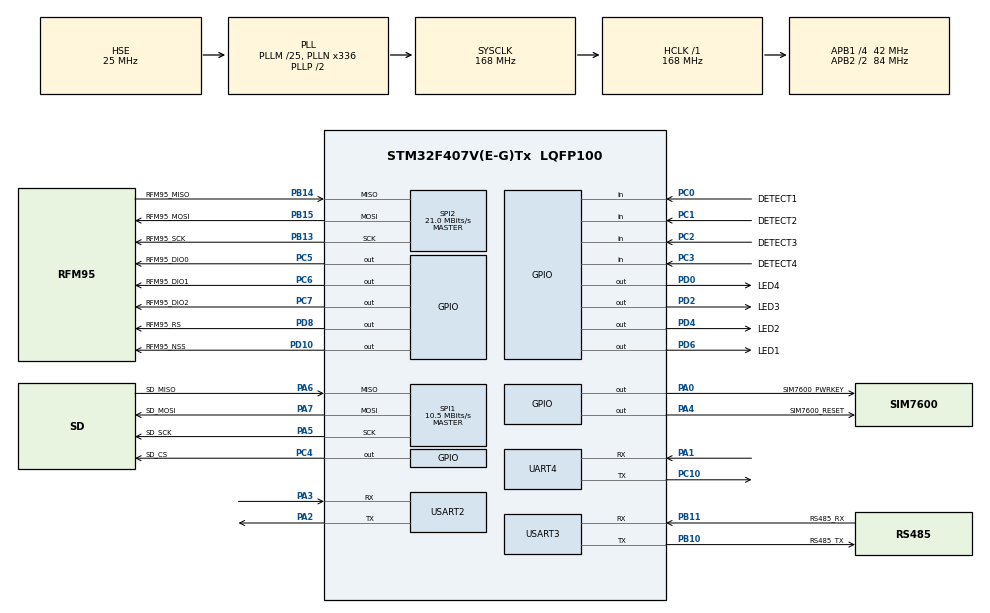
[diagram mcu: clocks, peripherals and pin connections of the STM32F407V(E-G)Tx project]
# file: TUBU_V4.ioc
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Dma.Request0=USART3_RX
Dma.Request1=USART2_RX
Dma.USART2_RX.1.Direction=DMA_PERIPH_TO_MEMORY
Dma.USART2_RX.1.FIFOMode=DMA_FIFOMODE_DISABLE
Dma.USART2_RX.1.Instance=DMA1_Stream5
Dma.USART2_RX.1.MemDataAlignment=DMA_MDATAALIGN_BYTE
Dma.USART2_RX.1.MemInc=DMA_MINC_ENABLE
Dma.USART2_RX.1.Mode=DMA_NORMAL
Dma.USART2_RX.1.PeriphDataAlignment=DMA_PDATAALIGN_BYTE
Dma.USART2_RX.1.PeriphInc=DMA_PINC_DISABLE
Dma.USART2_RX.1.Priority=DMA_PRIORITY_LOW
Dma.USART3_RX.0.Direction=DMA_PERIPH_TO_MEMORY
Dma.USART3_RX.0.FIFOMode=DMA_FIFOMODE_DISABLE
Dma.USART3_RX.0.Instance=DMA1_Stream1
Dma.USART3_RX.0.MemDataAlignment=DMA_MDATAALIGN_BYTE
Dma.USART3_RX.0.MemInc=DMA_MINC_ENABLE
Dma.USART3_RX.0.Mode=DMA_NORMAL
Dma.USART3_RX.0.PeriphDataAlignment=DMA_PDATAALIGN_BYTE
Dma.USART3_RX.0.PeriphInc=DMA_PINC_DISABLE
Dma.USART3_RX.0.Priority=DMA_PRIORITY_LOW
FATFS._MAX_SS=4096
FATFS._USE_LFN=1
Mcu.Family=STM32F4
Mcu.Name=STM32F407V(E-G)Tx
Mcu.Package=LQFP100
NVIC.DMA1_Stream1_IRQn=true\:0\:0\:false\:false\:true\:false\:true\:true
NVIC.DMA1_Stream5_IRQn=true\:0\:0\:false\:false\:true\:false\:true\:true
NVIC.PriorityGroup=NVIC_PRIORITYGROUP_4
NVIC.UART4_IRQn=true\:0\:0\:false\:false\:true\:true\:true\:true
NVIC.USART2_IRQn=true\:0\:0\:false\:false\:true\:true\:true\:true
NVIC.USART3_IRQn=true\:0\:0\:false\:false\:true\:true\:true\:true
PA0-WKUP.GPIO_Label=SIM7600_PWRKEY
PA0-WKUP.GPIO_PuPd=GPIO_PULLUP
PA0-WKUP.Signal=GPIO_Output
PA1.Mode=Asynchronous
PA1.Signal=UART4_RX
PA13.Mode=Serial_Wire
PA13.Signal=SYS_JTMS-SWDIO
PA14.Mode=Serial_Wire
PA14.Signal=SYS_JTCK-SWCLK
PA2.Mode=Asynchronous
PA2.Signal=USART2_TX
PA3.Mode=Asynchronous
PA3.Signal=USART2_RX
PA4.GPIO_Label=SIM7600_RESET
PA4.Signal=GPIO_Output
PA5.GPIO_Label=SD_SCK
PA5.Mode=Full_Duplex_Master
PA5.Signal=SPI1_SCK
PA6.GPIO_Label=SD_MISO
PA6.Mode=Full_Duplex_Master
PA6.Signal=SPI1_MISO
PA7.GPIO_Label=SD_MOSI
PA7.Mode=Full_Duplex_Master
PA7.Signal=SPI1_MOSI
PB10.GPIO_Label=RS485_TX
PB10.Mode=Asynchronous
PB10.Signal=USART3_TX
PB11.GPIO_Label=RS485_RX
PB11.Mode=Asynchronous
PB11.Signal=USART3_RX
PB13.GPIO_Label=RFM95_SCK
PB13.Mode=Full_Duplex_Master
PB13.Signal=SPI2_SCK
PB14.GPIO_Label=RFM95_MISO
PB14.Mode=Full_Duplex_Master
PB14.Signal=SPI2_MISO
PB15.GPIO_Label=RFM95_MOSI
PB15.Mode=Full_Duplex_Master
PB15.Signal=SPI2_MOSI
PC0.GPIO_Label=DETECT1
PC0.Signal=GPIO_Input
PC1.GPIO_Label=DETECT2
PC1.Signal=GPIO_Input
PC10.Mode=Asynchronous
PC10.Signal=UART4_TX
PC14-OSC32_IN.Mode=LSE-External-Oscillator
PC14-OSC32_IN.Signal=RCC_OSC32_IN
PC15-OSC32_OUT.Mode=LSE-External-Oscillator
PC15-OSC32_OUT.Signal=RCC_OSC32_OUT
PC2.GPIO_Label=DETECT3
PC2.Signal=GPIO_Input
PC3.GPIO_Label=DETECT4
PC3.Signal=GPIO_Input
PC4.GPIO_Label=SD_CS
PC4.Signal=GPIO_Output
PC5.GPIO_Label=RFM95_DIO0
PC5.Signal=GPIO_Output
PC6.GPIO_Label=RFM95_DIO1
PC6.Signal=GPIO_Output
PC7.GPIO_Label=RFM95_DIO2
PC7.Signal=GPIO_Output
PD0.GPIO_Label=LED4
PD0.Signal=GPIO_Output
PD10.GPIO_Label=RFM95_NSS
PD10.Signal=GPIO_Output
PD2.GPIO_Label=LED3
PD2.Signal=GPIO_Output
PD4.GPIO_Label=LED2
PD4.Signal=GPIO_Output
PD6.GPIO_Label=LED1
PD6.Signal=GPIO_Output
PD8.GPIO_Label=RFM95_RS
PD8.Signal=GPIO_Output
PH0-OSC_IN.Mode=HSE-External-Oscillator
PH0-OSC_IN.Signal=RCC_OSC_IN
PH1-OSC_OUT.Mode=HSE-External-Oscillator
PH1-OSC_OUT.Signal=RCC_OSC_OUT
ProjectManager.HeapSize=0x200
ProjectManager.StackSize=0x400
ProjectManager.TargetToolchain=STM32CubeIDE
RCC.48MHZClocksFreq_Value=84000000
RCC.AHBFreq_Value=168000000
RCC.APB1CLKDivider=RCC_HCLK_DIV4
RCC.APB1Freq_Value=42000000
RCC.APB1TimFreq_Value=84000000
RCC.APB2CLKDivider=RCC_HCLK_DIV2
RCC.APB2Freq_Value=84000000
RCC.APB2TimFreq_Value=168000000
RCC.CortexFreq_Value=168000000
RCC.HCLKFreq_Value=168000000
RCC.HSE_VALUE=25000000
RCC.HSI_VALUE=16000000
RCC.PLLM=25
RCC.PLLN=336
RCC.PLLSourceVirtual=RCC_PLLSOURCE_HSE
RCC.SYSCLKFreq_VALUE=168000000
RCC.SYSCLKSource=RCC_SYSCLKSOURCE_PLLCLK
RCC.VCOOutputFreq_Value=336000000
RTC.Alarm=RTC_ALARM_A
RTC.Date=28
RTC.Hours=9
RTC.Hours_A=9
RTC.Minutes=0
RTC.Month=RTC_MONTH_MARCH
RTC.Seconds_A=1
RTC.WeekDay=RTC_WEEKDAY_THURSDAY
SPI1.BaudRatePrescaler=SPI_BAUDRATEPRESCALER_8
SPI1.CalculateBaudRate=10.5 MBits/s
SPI1.Direction=SPI_DIRECTION_2LINES
SPI1.Mode=SPI_MODE_MASTER
SPI1.VirtualType=VM_MASTER
SPI2.BaudRatePrescaler=SPI_BAUDRATEPRESCALER_2
SPI2.CalculateBaudRate=21.0 MBits/s
SPI2.Direction=SPI_DIRECTION_2LINES
SPI2.Mode=SPI_MODE_MASTER
SPI2.VirtualType=VM_MASTER
UART4.VirtualMode=Asynchronous
USART2.VirtualMode=VM_ASYNC
USART3.VirtualMode=VM_ASYNC
VP_FATFS_VS_Generic.Mode=User_defined
VP_RTC_VS_RTC_Activate.Mode=RTC_Enabled
VP_RTC_VS_RTC_Alarm_A_Intern.Mode=Alarm A
VP_RTC_VS_RTC_Calendar.Mode=RTC_Calendar
board=custom

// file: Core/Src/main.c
/* USER CODE BEGIN Header */
/**
 ******************************************************************************
 * @file           : main.c
 * @brief          : Main program body
 ******************************************************************************
 * @attention
 *
 * Copyright (c) 2024 STMicroelectronics.
 * All rights reserved.
 *
 * This software is licensed under terms that can be found in the LICENSE file
 * in the root directory of this software component.
 * If no LICENSE file comes with this software, it is provided AS-IS.
 *
 ******************************************************************************
 */
/* USER CODE END Header */
#include "main.h"
#include "fatfs.h"

/* USER CODE BEGIN Includes */
#include "ducati.h"
#include "rfm95.h"
#include "sim7600.h"
#include "sd.h"
/* USER CODE END Includes */

/* USER CODE BEGIN PD */
#define RX_LEN			500
/* USER CODE END PD */

RTC_HandleTypeDef hrtc;

SPI_HandleTypeDef hspi1;
SPI_HandleTypeDef hspi2;

UART_HandleTypeDef huart4;
UART_HandleTypeDef huart2;
UART_HandleTypeDef huart3;
DMA_HandleTypeDef hdma_usart2_rx;
DMA_HandleTypeDef hdma_usart3_rx;

/* USER CODE BEGIN PV */
ducati_typeDef ducati = { 0 };
//STATUS_CONTACTOR *CON[8] = { 0 };
bool IN[8];
SIM_HandleTypeDef *simPtr;
SIM_HTTPTypeDef http = { 0 };
SIM_DataTypeDef simData = { 0 };

RFM95_HandleTypeDef rfm95w = { 0 };
LORA_HandleTypeDef *lora;
CFG_HandleTypeDef *cfgID;
float CosF = 0.5;
float Current = 0.1;
float Voltage = 0.1;
float ActivePower = 10.1;
float ReactivePower = 10.2;
float Frequency = 50;

uint16_t AvP;
uint16_t AvQ;
uint16_t CoilStatus;
extern char TimeString[24];
uint8_t irqLoRaFlag = 0;
/* USER CODE END PV */

void SystemClock_Config(void);
static void MX_GPIO_Init(void);
static void MX_DMA_Init(void);
static void MX_SPI1_Init(void);
static void MX_SPI2_Init(void);
static void MX_USART2_UART_Init(void);
static void MX_USART3_UART_Init(void);
static void MX_RTC_Init(void);
static void MX_UART4_Init(void);
/* USER CODE BEGIN PFP */
void HAL_UARTEx_RxEventCallback(UART_HandleTypeDef *huart, uint16_t Size) {
	if (huart->Instance == USART3) {
		HAL_UARTEx_ReceiveToIdle_DMA(&huart3, ducati.buffer, LEVEL_BUFFER_SIZE);
		__HAL_DMA_DISABLE_IT(ducati.dma, DMA_IT_HT);
		ducati.DucatiFlag = true;
		Get_size(&ducati, Size);

	}
	if (huart->Instance == USART2) {
		SIM_checkEvent(simPtr, Size);
	}
}

void HAL_GPIO_EXTI_Callback(uint16_t GPIO_Pin) {
	/* Wake up MCU from stop mode by any EXTI line */
	if (GPIO_Pin == rfm95w.dio0) {
		/* Set flag to read LoRa message */
		irqLoRaFlag = 1;
	}
}
/* USER CODE END PFP */

/* USER CODE BEGIN 0 */
void ducati_Init(void) {
	ducati.dma = &hdma_usart3_rx;
	ducati.huart = &huart3;
}

void CONTACTOR_READ()
{
  IN[0] = HAL_GPIO_ReadPin(DETECT1_GPIO_Port, DETECT1_Pin);
  IN[1] = HAL_GPIO_ReadPin(DETECT2_GPIO_Port, DETECT2_Pin);
  IN[2] = HAL_GPIO_ReadPin(DETECT3_GPIO_Port, DETECT3_Pin);
  IN[3] = HAL_GPIO_ReadPin(DETECT4_GPIO_Port, DETECT4_Pin);
}

void SIM_Init(void) {
//	HAL_GPIO_WritePin(SIM7600_PWRKEY_GPIO_Port, SIM7600_PWRKEY_Pin,
//			GPIO_PIN_SET); // Bat PWR len
//	HAL_GPIO_WritePin(SIM7600_RESET_GPIO_Port, SIM7600_RESET_Pin, GPIO_PIN_RESET);
	printf("%s\n", __FUNCTION__);
	/* Khởi tạo biến tĩnh để các giá trị khởi tạo không bị mất đi */
	static SIM7600_HandleTypeDef sim7600 = { 0 };

	/* Khởi tạo giá trị cho con tr�?, biến con tr�? là biến toàn cục */
	simPtr = (SIM_HandleTypeDef*) &sim7600;

	/* Khởi tạo giá trị của các member của struct */
	sim7600.hdma = &hdma_usart2_rx;
	sim7600.huart = &huart2;
	sim7600.smsCnt = 0;
	sim7600.smsPos = 0;
	sim7600.pwrkeyPin = SIM7600_PWRKEY_Pin;
	sim7600.pwrkeyPort = SIM7600_PWRKEY_GPIO_Port;
    sim7600.resetPort = SIM7600_RESET_GPIO_Port;
    sim7600.resetPin = SIM7600_RESET_Pin;
//    sim7600.sleepPort = SIM7600_DTR_GPIO_Port;
//    sim7600.sleepPin = SIM7600_DTR_Pin;
//    sim7600.powerEnPort = SIM7600_PWREN_GPIO_Port;
//    sim7600.powerEnPin = SIM7600_PWREN_Pin;
	sim7600.parent.CSR = 0;

	sim7600.parent.simSendATCommand = (simSendATCommand) &SIM7600_sendATCommand;
	sim7600.parent.simWakeup = (simWakeup) &SIM7600_wakeup;
	sim7600.parent.simSleep = (simSleep) &SIM7600_sleep;
	sim7600.parent.simInit = (simInit) &SIM7600_init;
	sim7600.parent.simSetFunction = (simSetFunction) &SIM7600_setFunction;
	sim7600.parent.simProcess = (simProcess) &SIM7600_process;
	sim7600.parent.simCheckEvent = (simCheckEvent) &SIM7600_checkEvent;
	sim7600.parent.simReadSMS = (simReadSMS) &SIM7600_readSMS;
	sim7600.parent.simSendSMS = (simSendSMS) &SIM7600_sendSMS;
	sim7600.parent.simGetSMSCounter = (simGetSMSCounter) &SIM7600_getSMSCounter;
	sim7600.parent.simCallUSSD = (simCallUSSD) &SIM7600_callUSSD;
	sim7600.parent.simGetRSSI = (simGetRSSI) &SIM7600_getRSSI;
	sim7600.parent.simGetTemperature =
			(simGetTemperature) &SIM7600_getTemperature;
	sim7600.parent.simGetNwtype = (simGetNwtype) &SIM7600_getNetworkType;
	sim7600.parent.simGetSimPhone = (simGetSimPhone) &SIM7600_getSimPhone;
	sim7600.parent.simGetIMEI = (simGetIMEI) &SIM7600_getIMEI;
	sim7600.parent.simGetLocalTime = (simGetLocalTime) &SIM7600_getLocalTime;
	sim7600.parent.simGetFileSize = (simGetFileSize) &SIM7600_getFileSize;
	sim7600.parent.simDeleteFile = (simDeleteFile) &SIM7600_deleteFile;
	sim7600.parent.simSetLocalTimeAuto =
			(simSetLocalTimeAuto) &SIM7600_setLocalTimeAuto;
	sim7600.parent.simSetLocalTimeManual =
			(simSetLocalTimeManual) &SIM7600_setLocalTimeManual;
	sim7600.parent.simSelectPhonebookMem =
			(simSelectPhonebookMem) &SIM7600_selectPhonebookMem;
	sim7600.parent.simSavePhonebook = (simSavePhonebook) &SIM7600_savePhonebook;
	sim7600.parent.simReadPhonebook = (simReadPhonebook) &SIM7600_readPhonebook;
	sim7600.parent.simFindPhonebook = (simFindPhonebook) &SIM7600_findPhonebook;
	sim7600.parent.simSendHTTP = (simSendHTTP) &SIM7600_sendHTTP;
	sim7600.parent.simGetFileHTTP = (simGetFileHTTP) &SIM7600_getFileHTTP;

	/* Khởi tạo module SIM */
	if (THT_OK != SIM_init(simPtr)) {
		printf("Sim init fail\n");
		HAL_UART_Transmit(&huart4, "SIM START ERROR: \n",
				sizeof("SIM START ERROR: \n"), HAL_MAX_DELAY);
	} else {
		HAL_UART_Transmit(&huart4, "SIM START OK: \n",
				sizeof("SIM START OK: \n"), HAL_MAX_DELAY);
		char pTime[100] = { };
		/* Dưa module SIM vào chế độ hoạt động đầy đủ chức năng */
		SIM_setFunction(simPtr, SIM_MODE_FULL);
		SIM_setLocalTimeAuto(simPtr);
		SIM_getLocalTime(simPtr, pTime, 22);
		SIM_getData(simPtr,
				SIM_DR_IMEI | SIM_DR_RSSI | SIM_DR_NWTYPE | SIM_DR_SIMPHONE
						| SIM_DR_TEMP, &simData);
	}
}
void CFG_Init() {
	CFG_HandleTypeDef cfg = { 0 };
	cfgID = &cfg;

	//  CFG_getID(device);
	//  CFG_getMaster(device);

	CFG_setDeviceID(cfgID, "0982586020", strlen("0982586020"));
	CFG_setDeviceMaster(cfgID, "0982586021", strlen("0982586021"));

	CFG_writeEEPROM(cfgID);
}

void LORA_begin() {
	lora = (LORA_HandleTypeDef*) &rfm95w;

	rfm95w.resetPort = RFM95_RS_GPIO_Port;
	rfm95w.resetPin = RFM95_RS_Pin;
	rfm95w.nssPort = RFM95_NSS_GPIO_Port;
	rfm95w.nssPin = RFM95_NSS_Pin;
	rfm95w.dio0Port = RFM95_DIO0_GPIO_Port;
	rfm95w.dio0 = RFM95_DIO0_Pin;
	rfm95w.hspi = &hspi2;

	rfm95w.parent.init = (loraInit) &RFM95_init;
	rfm95w.parent.transmit = (loraTransmit) &RFM95_transmit;
	rfm95w.parent.receive = (loraReceive) &RFM95_receiveContinuous;
	rfm95w.parent.startReceiveIT =
			(loraStartReceiveOnIRQ) &RFM95_startReceiveIT;
	rfm95w.parent.receiveIT = (loraReceiveOnIRQ) &RFM95_receiveIT;

	rfm95w.parent.getRSSI = (loraGetRSSI) &RFM95_getRSSI;

}
// Should transmit with 8bits to distance more far
uint8_t CRC8XOR(const uint8_t *array, size_t size) {
	uint8_t value = 0;
	for (size_t i = 0; i < size; i++) {
		value ^= array[i];
	}
	return value;
}

void processValue() {
	uint8_t messLora[LORA_REQUEST_SIZE] = { 0 };

	char buff[100] = { 0 };
	sprintf(buff, "Vol = %.2f", Voltage);
	print(buff);

	char *id = CFG_getDeviceID(cfgID);
	char *master = CFG_getDeviceMaster(cfgID);

	messLora[0] = CRC8XOR((uint8_t*) id, strlen(id));
	messLora[1] = CRC8XOR((uint8_t*) master, strlen(master));
	messLora[2] = Voltage;
	messLora[14] = CRC8XOR(messLora, 256);
	LORA_transmit(lora, messLora, 4, 1000);
}

void loraHandle() {

	uint8_t msgResLoRa[LORA_RESPONSE_SIZE] = { 0 };
	uint8_t messLora[LORA_REQUEST_SIZE] = { 0 };

	LORA_startReceiveIT(lora);
	uint16_t timeStap = HAL_GetTick();
	while (HAL_GetTick() - timeStap < 60000) {
		if (irqLoRaFlag) {
			irqLoRaFlag = 0;
			LORA_receiveIT(lora, msgResLoRa, LORA_RESPONSE_SIZE);
			if (msgResLoRa[0] == messLora[0] && msgResLoRa[1] == messLora[1]) {
				LORA_transmit(lora, messLora, LORA_REQUEST_SIZE, 1000);
			}
			break;
		}
	}
}
/* USER CODE END 0 */

int main(void)
{

  /* MCU Configuration--------------------------------------------------------*/

  /* Reset of all peripherals, Initializes the Flash interface and the Systick. */
  HAL_Init();

  /* Configure the system clock */
  SystemClock_Config();

  /* Initialize all configured peripherals */
  MX_GPIO_Init();
  MX_DMA_Init();
  MX_SPI1_Init();
  MX_SPI2_Init();
  MX_USART2_UART_Init();
  MX_USART3_UART_Init();
  MX_FATFS_Init();
  MX_RTC_Init();
  MX_UART4_Init();
  /* USER CODE BEGIN 2 */
	ducati_Init();
  CONTACTOR_READ();
	LORA_begin() ;
	SIM_Init();
	HTTP_init(&http,
			"https://capacitor-129e8-default-rtdb.firebaseio.com/citx.json",
			strlen(
					"https://capacitor-129e8-default-rtdb.firebaseio.com/citx.json"),
			HTTP_URL_URI_RESULT);
	sprintf(http.data,
		"{\"CosFi\":\"%.2f\""
		",\"Three-phase Equivalent Voltage\":\"%.2f\""
		",\"Three-phase Equivalent Current\":\"%.2f\""
		",\"Frequency\":\"%.2f\""
		",\"ActivePowe\":\"%.2f\""
		",\"ReactivePower\":\"%.2f\""
		",\"Three-phase equivalent ActivePower\":\"%d\""
		",\"Three-phase equivalent ReactivePower\":\"%d\""
	    ",\"CTT1\":\"%u\""
	    ",\"CTT2\":\"%u\""
	    ",\"CTT3\":\"%u\""
	    ",\"CTT4\":\"%u\"}",
		CosF, Voltage, Current, Frequency,
		ActivePower, ReactivePower, AvP, AvQ,
	    (IN[0] ^ 0x01),(IN[1] ^ 0x01),(IN[2] ^ 0x01),(IN[3] ^ 0x01));

	 SIM_sendHTTP(simPtr, &http);

  if (SIM_sendHTTP(simPtr, &http) == THT_ERROR)
  {
      loraHandle();
  }
  /* USER CODE END 2 */

  /* Infinite loop */
	while (1) {

    /* USER CODE BEGIN 3 */
		Voltage = getVol(&ducati);
		CosF = getCosF(&ducati);
		Current = getCurrent(&ducati);
		Frequency = getFrequency(&ducati);

		AvQ = getAvQ(&ducati);
		AvP = getAvP(&ducati);
		ActivePower = getActivePower(&ducati);
		ReactivePower = getReactivePower(&ducati);
		CoilStatus = getCoilStatus(&ducati);
		HAL_Delay(1000);
	}
  /* USER CODE END 3 */
}

void SystemClock_Config(void)
{
  RCC_OscInitTypeDef RCC_OscInitStruct = {0};
  RCC_ClkInitTypeDef RCC_ClkInitStruct = {0};

  /** Configure the main internal regulator output voltage
  */
  __HAL_RCC_PWR_CLK_ENABLE();
  __HAL_PWR_VOLTAGESCALING_CONFIG(PWR_REGULATOR_VOLTAGE_SCALE1);

  /** Initializes the RCC Oscillators according to the specified parameters
  * in the RCC_OscInitTypeDef structure.
  */
  RCC_OscInitStruct.OscillatorType = RCC_OSCILLATORTYPE_LSI|RCC_OSCILLATORTYPE_HSE;
  RCC_OscInitStruct.HSEState = RCC_HSE_ON;
  RCC_OscInitStruct.LSIState = RCC_LSI_ON;
  RCC_OscInitStruct.PLL.PLLState = RCC_PLL_ON;
  RCC_OscInitStruct.PLL.PLLSource = RCC_PLLSOURCE_HSE;
  RCC_OscInitStruct.PLL.PLLM = 25;
  RCC_OscInitStruct.PLL.PLLN = 336;
  RCC_OscInitStruct.PLL.PLLP = RCC_PLLP_DIV2;
  RCC_OscInitStruct.PLL.PLLQ = 4;
  if (HAL_RCC_OscConfig(&RCC_OscInitStruct) != HAL_OK)
  {
    Error_Handler();
  }

  /** Initializes the CPU, AHB and APB buses clocks
  */
  RCC_ClkInitStruct.ClockType = RCC_CLOCKTYPE_HCLK|RCC_CLOCKTYPE_SYSCLK
                              |RCC_CLOCKTYPE_PCLK1|RCC_CLOCKTYPE_PCLK2;
  RCC_ClkInitStruct.SYSCLKSource = RCC_SYSCLKSOURCE_PLLCLK;
  RCC_ClkInitStruct.AHBCLKDivider = RCC_SYSCLK_DIV1;
  RCC_ClkInitStruct.APB1CLKDivider = RCC_HCLK_DIV4;
  RCC_ClkInitStruct.APB2CLKDivider = RCC_HCLK_DIV2;

  if (HAL_RCC_ClockConfig(&RCC_ClkInitStruct, FLASH_LATENCY_5) != HAL_OK)
  {
    Error_Handler();
  }
}

static void MX_RTC_Init(void)
{

  RTC_TimeTypeDef sTime = {0};
  RTC_DateTypeDef sDate = {0};
  RTC_AlarmTypeDef sAlarm = {0};

  /** Initialize RTC Only
  */
  hrtc.Instance = RTC;
  hrtc.Init.HourFormat = RTC_HOURFORMAT_24;
  hrtc.Init.AsynchPrediv = 127;
  hrtc.Init.SynchPrediv = 255;
  hrtc.Init.OutPut = RTC_OUTPUT_DISABLE;
  hrtc.Init.OutPutPolarity = RTC_OUTPUT_POLARITY_HIGH;
  hrtc.Init.OutPutType = RTC_OUTPUT_TYPE_OPENDRAIN;
  if (HAL_RTC_Init(&hrtc) != HAL_OK)
  {
    Error_Handler();
  }

  /** Initialize RTC and set the Time and Date
  */
  sTime.Hours = 0x9;
  sTime.Minutes = 0x0;
  sTime.Seconds = 0x0;
  sTime.DayLightSaving = RTC_DAYLIGHTSAVING_NONE;
  sTime.StoreOperation = RTC_STOREOPERATION_RESET;
  if (HAL_RTC_SetTime(&hrtc, &sTime, RTC_FORMAT_BCD) != HAL_OK)
  {
    Error_Handler();
  }
  sDate.WeekDay = RTC_WEEKDAY_THURSDAY;
  sDate.Month = RTC_MONTH_MARCH;
  sDate.Date = 0x28;
  sDate.Year = 0x0;

  if (HAL_RTC_SetDate(&hrtc, &sDate, RTC_FORMAT_BCD) != HAL_OK)
  {
    Error_Handler();
  }

  /** Enable the Alarm A
  */
  sAlarm.AlarmTime.Hours = 0x9;
  sAlarm.AlarmTime.Minutes = 0x0;
  sAlarm.AlarmTime.Seconds = 0x1;
  sAlarm.AlarmTime.SubSeconds = 0x0;
  sAlarm.AlarmTime.DayLightSaving = RTC_DAYLIGHTSAVING_NONE;
  sAlarm.AlarmTime.StoreOperation = RTC_STOREOPERATION_RESET;
  sAlarm.AlarmMask = RTC_ALARMMASK_NONE;
  sAlarm.AlarmSubSecondMask = RTC_ALARMSUBSECONDMASK_ALL;
  sAlarm.AlarmDateWeekDaySel = RTC_ALARMDATEWEEKDAYSEL_DATE;
  sAlarm.AlarmDateWeekDay = 0x1;
  sAlarm.Alarm = RTC_ALARM_A;
  if (HAL_RTC_SetAlarm(&hrtc, &sAlarm, RTC_FORMAT_BCD) != HAL_OK)
  {
    Error_Handler();
  }

}

static void MX_SPI1_Init(void)
{

  /* SPI1 parameter configuration*/
  hspi1.Instance = SPI1;
  hspi1.Init.Mode = SPI_MODE_MASTER;
  hspi1.Init.Direction = SPI_DIRECTION_2LINES;
  hspi1.Init.DataSize = SPI_DATASIZE_8BIT;
  hspi1.Init.CLKPolarity = SPI_POLARITY_LOW;
  hspi1.Init.CLKPhase = SPI_PHASE_1EDGE;
  hspi1.Init.NSS = SPI_NSS_SOFT;
  hspi1.Init.BaudRatePrescaler = SPI_BAUDRATEPRESCALER_8;
  hspi1.Init.FirstBit = SPI_FIRSTBIT_MSB;
  hspi1.Init.TIMode = SPI_TIMODE_DISABLE;
  hspi1.Init.CRCCalculation = SPI_CRCCALCULATION_DISABLE;
  hspi1.Init.CRCPolynomial = 10;
  if (HAL_SPI_Init(&hspi1) != HAL_OK)
  {
    Error_Handler();
  }

}

static void MX_SPI2_Init(void)
{

  /* SPI2 parameter configuration*/
  hspi2.Instance = SPI2;
  hspi2.Init.Mode = SPI_MODE_MASTER;
  hspi2.Init.Direction = SPI_DIRECTION_2LINES;
  hspi2.Init.DataSize = SPI_DATASIZE_8BIT;
  hspi2.Init.CLKPolarity = SPI_POLARITY_LOW;
  hspi2.Init.CLKPhase = SPI_PHASE_1EDGE;
  hspi2.Init.NSS = SPI_NSS_SOFT;
  hspi2.Init.BaudRatePrescaler = SPI_BAUDRATEPRESCALER_2;
  hspi2.Init.FirstBit = SPI_FIRSTBIT_MSB;
  hspi2.Init.TIMode = SPI_TIMODE_DISABLE;
  hspi2.Init.CRCCalculation = SPI_CRCCALCULATION_DISABLE;
  hspi2.Init.CRCPolynomial = 10;
  if (HAL_SPI_Init(&hspi2) != HAL_OK)
  {
    Error_Handler();
  }

}

static void MX_UART4_Init(void)
{

  huart4.Instance = UART4;
  huart4.Init.BaudRate = 115200;
  huart4.Init.WordLength = UART_WORDLENGTH_8B;
  huart4.Init.StopBits = UART_STOPBITS_1;
  huart4.Init.Parity = UART_PARITY_NONE;
  huart4.Init.Mode = UART_MODE_TX_RX;
  huart4.Init.HwFlowCtl = UART_HWCONTROL_NONE;
  huart4.Init.OverSampling = UART_OVERSAMPLING_16;
  if (HAL_UART_Init(&huart4) != HAL_OK)
  {
    Error_Handler();
  }

}

static void MX_USART2_UART_Init(void)
{

  huart2.Instance = USART2;
  huart2.Init.BaudRate = 115200;
  huart2.Init.WordLength = UART_WORDLENGTH_8B;
  huart2.Init.StopBits = UART_STOPBITS_1;
  huart2.Init.Parity = UART_PARITY_NONE;
  huart2.Init.Mode = UART_MODE_TX_RX;
  huart2.Init.HwFlowCtl = UART_HWCONTROL_NONE;
  huart2.Init.OverSampling = UART_OVERSAMPLING_16;
  if (HAL_UART_Init(&huart2) != HAL_OK)
  {
    Error_Handler();
  }

}

static void MX_USART3_UART_Init(void)
{

  huart3.Instance = USART3;
  huart3.Init.BaudRate = 115200;
  huart3.Init.WordLength = UART_WORDLENGTH_8B;
  huart3.Init.StopBits = UART_STOPBITS_1;
  huart3.Init.Parity = UART_PARITY_NONE;
  huart3.Init.Mode = UART_MODE_TX_RX;
  huart3.Init.HwFlowCtl = UART_HWCONTROL_NONE;
  huart3.Init.OverSampling = UART_OVERSAMPLING_16;
  if (HAL_UART_Init(&huart3) != HAL_OK)
  {
    Error_Handler();
  }

}

static void MX_DMA_Init(void)
{

  /* DMA controller clock enable */
  __HAL_RCC_DMA1_CLK_ENABLE();

  /* DMA interrupt init */
  /* DMA1_Stream1_IRQn interrupt configuration */
  HAL_NVIC_SetPriority(DMA1_Stream1_IRQn, 0, 0);
  HAL_NVIC_EnableIRQ(DMA1_Stream1_IRQn);
  /* DMA1_Stream5_IRQn interrupt configuration */
  HAL_NVIC_SetPriority(DMA1_Stream5_IRQn, 0, 0);
  HAL_NVIC_EnableIRQ(DMA1_Stream5_IRQn);

}

static void MX_GPIO_Init(void)
{
  GPIO_InitTypeDef GPIO_InitStruct = {0};

  /* GPIO Ports Clock Enable */
  __HAL_RCC_GPIOC_CLK_ENABLE();
  __HAL_RCC_GPIOH_CLK_ENABLE();
  __HAL_RCC_GPIOA_CLK_ENABLE();
  __HAL_RCC_GPIOB_CLK_ENABLE();
  __HAL_RCC_GPIOD_CLK_ENABLE();

  /*Configure GPIO pin Output Level */
  HAL_GPIO_WritePin(GPIOA, SIM7600_PWRKEY_Pin|SIM7600_RESET_Pin, GPIO_PIN_RESET);

  /*Configure GPIO pin Output Level */
  HAL_GPIO_WritePin(GPIOC, SD_CS_Pin|RFM95_DIO0_Pin|RFM95_DIO1_Pin|RFM95_DIO2_Pin, GPIO_PIN_RESET);

  /*Configure GPIO pin Output Level */
  HAL_GPIO_WritePin(GPIOD, RFM95_RS_Pin|RFM95_NSS_Pin|LED4_Pin|LED3_Pin
                          |LED2_Pin|LED1_Pin, GPIO_PIN_RESET);

  /*Configure GPIO pins : DETECT1_Pin DETECT2_Pin DETECT3_Pin DETECT4_Pin */
  GPIO_InitStruct.Pin = DETECT1_Pin|DETECT2_Pin|DETECT3_Pin|DETECT4_Pin;
  GPIO_InitStruct.Mode = GPIO_MODE_INPUT;
  GPIO_InitStruct.Pull = GPIO_NOPULL;
  HAL_GPIO_Init(GPIOC, &GPIO_InitStruct);

  /*Configure GPIO pin : SIM7600_PWRKEY_Pin */
  GPIO_InitStruct.Pin = SIM7600_PWRKEY_Pin;
  GPIO_InitStruct.Mode = GPIO_MODE_OUTPUT_PP;
  GPIO_InitStruct.Pull = GPIO_PULLUP;
  GPIO_InitStruct.Speed = GPIO_SPEED_FREQ_LOW;
  HAL_GPIO_Init(SIM7600_PWRKEY_GPIO_Port, &GPIO_InitStruct);

  /*Configure GPIO pin : SIM7600_RESET_Pin */
  GPIO_InitStruct.Pin = SIM7600_RESET_Pin;
  GPIO_InitStruct.Mode = GPIO_MODE_OUTPUT_PP;
  GPIO_InitStruct.Pull = GPIO_NOPULL;
  GPIO_InitStruct.Speed = GPIO_SPEED_FREQ_LOW;
  HAL_GPIO_Init(SIM7600_RESET_GPIO_Port, &GPIO_InitStruct);

  /*Configure GPIO pins : SD_CS_Pin RFM95_DIO0_Pin RFM95_DIO1_Pin RFM95_DIO2_Pin */
  GPIO_InitStruct.Pin = SD_CS_Pin|RFM95_DIO0_Pin|RFM95_DIO1_Pin|RFM95_DIO2_Pin;
  GPIO_InitStruct.Mode = GPIO_MODE_OUTPUT_PP;
  GPIO_InitStruct.Pull = GPIO_NOPULL;
  GPIO_InitStruct.Speed = GPIO_SPEED_FREQ_LOW;
  HAL_GPIO_Init(GPIOC, &GPIO_InitStruct);

  /*Configure GPIO pins : RFM95_RS_Pin RFM95_NSS_Pin LED4_Pin LED3_Pin
                           LED2_Pin LED1_Pin */
  GPIO_InitStruct.Pin = RFM95_RS_Pin|RFM95_NSS_Pin|LED4_Pin|LED3_Pin
                          |LED2_Pin|LED1_Pin;
  GPIO_InitStruct.Mode = GPIO_MODE_OUTPUT_PP;
  GPIO_InitStruct.Pull = GPIO_NOPULL;
  GPIO_InitStruct.Speed = GPIO_SPEED_FREQ_LOW;
  HAL_GPIO_Init(GPIOD, &GPIO_InitStruct);

}

void Error_Handler(void)
{
	__disable_irq();
	while (1) {
	}
}
